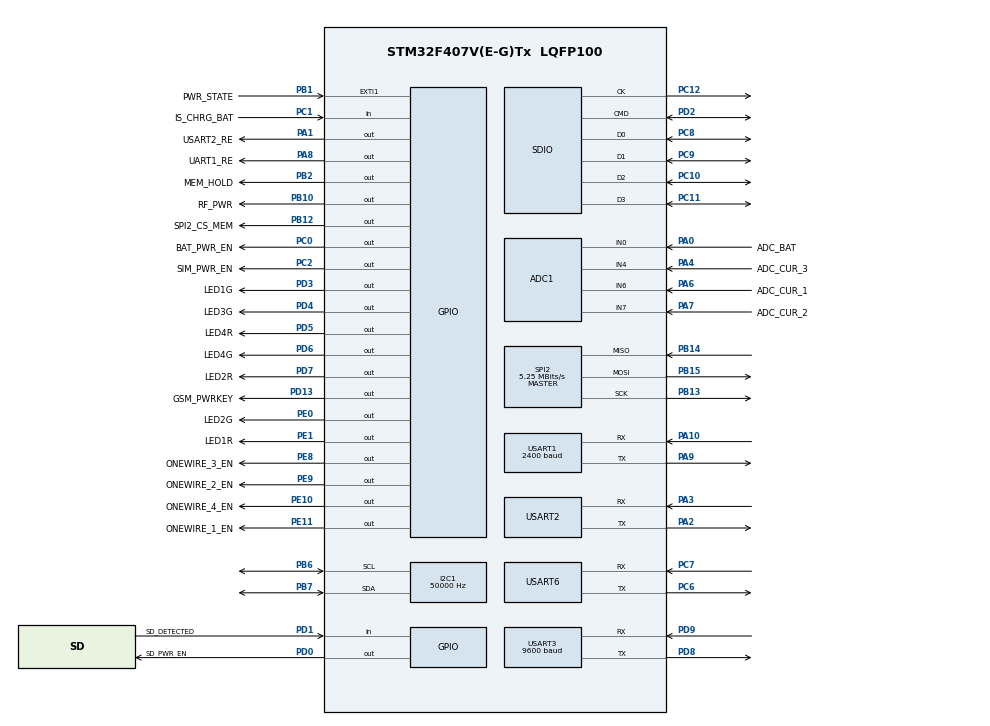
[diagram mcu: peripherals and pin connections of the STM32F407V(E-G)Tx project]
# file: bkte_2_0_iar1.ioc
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ADC1.Channel-0\#ChannelRegularConversion=ADC_CHANNEL_0
ADC1.Channel-1\#ChannelRegularConversion=ADC_CHANNEL_6
ADC1.Channel-2\#ChannelRegularConversion=ADC_CHANNEL_7
ADC1.Channel-3\#ChannelRegularConversion=ADC_CHANNEL_4
ADC1.ContinuousConvMode=DISABLE
ADC1.DMAContinuousRequests=ENABLE
ADC1.EOCSelection=ADC_EOC_SEQ_CONV
ADC1.ExternalTrigConv=ADC_EXTERNALTRIGCONV_T2_TRGO
ADC1.NbrOfConversion=4
ADC1.NbrOfConversionFlag=1
ADC1.Rank-0\#ChannelRegularConversion=1
ADC1.Rank-1\#ChannelRegularConversion=2
ADC1.Rank-2\#ChannelRegularConversion=3
ADC1.Rank-3\#ChannelRegularConversion=4
ADC1.SamplingTime-0\#ChannelRegularConversion=ADC_SAMPLETIME_28CYCLES
ADC1.SamplingTime-1\#ChannelRegularConversion=ADC_SAMPLETIME_28CYCLES
ADC1.SamplingTime-2\#ChannelRegularConversion=ADC_SAMPLETIME_28CYCLES
ADC1.SamplingTime-3\#ChannelRegularConversion=ADC_SAMPLETIME_28CYCLES
ADC1.ScanConvMode=ENABLE
ADC1.master=1
Dma.ADC1.8.Direction=DMA_PERIPH_TO_MEMORY
Dma.ADC1.8.FIFOMode=DMA_FIFOMODE_DISABLE
Dma.ADC1.8.Instance=DMA2_Stream0
Dma.ADC1.8.MemDataAlignment=DMA_MDATAALIGN_HALFWORD
Dma.ADC1.8.MemInc=DMA_MINC_ENABLE
Dma.ADC1.8.Mode=DMA_CIRCULAR
Dma.ADC1.8.PeriphDataAlignment=DMA_PDATAALIGN_HALFWORD
Dma.ADC1.8.PeriphInc=DMA_PINC_DISABLE
Dma.ADC1.8.Priority=DMA_PRIORITY_LOW
Dma.Request0=SDIO_RX
Dma.Request1=SDIO_TX
Dma.Request2=USART6_RX
Dma.Request3=USART6_TX
Dma.Request4=USART1_RX
Dma.Request5=SPI2_RX
Dma.Request6=SPI2_TX
Dma.Request7=USART2_RX
Dma.Request8=ADC1
Dma.SDIO_RX.0.Direction=DMA_PERIPH_TO_MEMORY
Dma.SDIO_RX.0.FIFOMode=DMA_FIFOMODE_ENABLE
Dma.SDIO_RX.0.FIFOThreshold=DMA_FIFO_THRESHOLD_FULL
Dma.SDIO_RX.0.Instance=DMA2_Stream3
Dma.SDIO_RX.0.MemBurst=DMA_MBURST_INC4
Dma.SDIO_RX.0.MemDataAlignment=DMA_MDATAALIGN_WORD
Dma.SDIO_RX.0.MemInc=DMA_MINC_ENABLE
Dma.SDIO_RX.0.Mode=DMA_PFCTRL
Dma.SDIO_RX.0.PeriphBurst=DMA_PBURST_INC4
Dma.SDIO_RX.0.PeriphDataAlignment=DMA_PDATAALIGN_WORD
Dma.SDIO_RX.0.PeriphInc=DMA_PINC_DISABLE
Dma.SDIO_RX.0.Priority=DMA_PRIORITY_LOW
Dma.SDIO_TX.1.Direction=DMA_MEMORY_TO_PERIPH
Dma.SDIO_TX.1.FIFOMode=DMA_FIFOMODE_ENABLE
Dma.SDIO_TX.1.FIFOThreshold=DMA_FIFO_THRESHOLD_FULL
Dma.SDIO_TX.1.Instance=DMA2_Stream6
Dma.SDIO_TX.1.MemBurst=DMA_MBURST_INC4
Dma.SDIO_TX.1.MemDataAlignment=DMA_MDATAALIGN_WORD
Dma.SDIO_TX.1.MemInc=DMA_MINC_ENABLE
Dma.SDIO_TX.1.Mode=DMA_PFCTRL
Dma.SDIO_TX.1.PeriphBurst=DMA_PBURST_INC4
Dma.SDIO_TX.1.PeriphDataAlignment=DMA_PDATAALIGN_WORD
Dma.SDIO_TX.1.PeriphInc=DMA_PINC_DISABLE
Dma.SDIO_TX.1.Priority=DMA_PRIORITY_LOW
Dma.SPI2_RX.5.Direction=DMA_PERIPH_TO_MEMORY
Dma.SPI2_RX.5.FIFOMode=DMA_FIFOMODE_DISABLE
Dma.SPI2_RX.5.Instance=DMA1_Stream3
Dma.SPI2_RX.5.MemDataAlignment=DMA_MDATAALIGN_BYTE
Dma.SPI2_RX.5.MemInc=DMA_MINC_ENABLE
Dma.SPI2_RX.5.Mode=DMA_NORMAL
Dma.SPI2_RX.5.PeriphDataAlignment=DMA_PDATAALIGN_BYTE
Dma.SPI2_RX.5.PeriphInc=DMA_PINC_DISABLE
Dma.SPI2_RX.5.Priority=DMA_PRIORITY_LOW
Dma.SPI2_TX.6.Direction=DMA_MEMORY_TO_PERIPH
Dma.SPI2_TX.6.FIFOMode=DMA_FIFOMODE_DISABLE
Dma.SPI2_TX.6.Instance=DMA1_Stream4
Dma.SPI2_TX.6.MemDataAlignment=DMA_MDATAALIGN_BYTE
Dma.SPI2_TX.6.MemInc=DMA_MINC_ENABLE
Dma.SPI2_TX.6.Mode=DMA_NORMAL
Dma.SPI2_TX.6.PeriphDataAlignment=DMA_PDATAALIGN_BYTE
Dma.SPI2_TX.6.PeriphInc=DMA_PINC_DISABLE
Dma.SPI2_TX.6.Priority=DMA_PRIORITY_LOW
Dma.USART1_RX.4.Direction=DMA_PERIPH_TO_MEMORY
Dma.USART1_RX.4.FIFOMode=DMA_FIFOMODE_DISABLE
Dma.USART1_RX.4.Instance=DMA2_Stream2
Dma.USART1_RX.4.MemDataAlignment=DMA_MDATAALIGN_HALFWORD
Dma.USART1_RX.4.MemInc=DMA_MINC_ENABLE
Dma.USART1_RX.4.Mode=DMA_NORMAL
Dma.USART1_RX.4.PeriphDataAlignment=DMA_PDATAALIGN_HALFWORD
Dma.USART1_RX.4.PeriphInc=DMA_PINC_DISABLE
Dma.USART1_RX.4.Priority=DMA_PRIORITY_VERY_HIGH
Dma.USART2_RX.7.Direction=DMA_PERIPH_TO_MEMORY
Dma.USART2_RX.7.FIFOMode=DMA_FIFOMODE_ENABLE
Dma.USART2_RX.7.FIFOThreshold=DMA_FIFO_THRESHOLD_FULL
Dma.USART2_RX.7.Instance=DMA1_Stream5
Dma.USART2_RX.7.MemBurst=DMA_MBURST_SINGLE
Dma.USART2_RX.7.MemDataAlignment=DMA_MDATAALIGN_BYTE
Dma.USART2_RX.7.MemInc=DMA_MINC_ENABLE
Dma.USART2_RX.7.Mode=DMA_NORMAL
Dma.USART2_RX.7.PeriphBurst=DMA_PBURST_SINGLE
Dma.USART2_RX.7.PeriphDataAlignment=DMA_PDATAALIGN_BYTE
Dma.USART2_RX.7.PeriphInc=DMA_PINC_DISABLE
Dma.USART2_RX.7.Priority=DMA_PRIORITY_LOW
Dma.USART6_RX.2.Direction=DMA_PERIPH_TO_MEMORY
Dma.USART6_RX.2.FIFOMode=DMA_FIFOMODE_DISABLE
Dma.USART6_RX.2.Instance=DMA2_Stream1
Dma.USART6_RX.2.MemDataAlignment=DMA_MDATAALIGN_BYTE
Dma.USART6_RX.2.MemInc=DMA_MINC_ENABLE
Dma.USART6_RX.2.Mode=DMA_CIRCULAR
Dma.USART6_RX.2.PeriphDataAlignment=DMA_PDATAALIGN_BYTE
Dma.USART6_RX.2.PeriphInc=DMA_PINC_DISABLE
Dma.USART6_RX.2.Priority=DMA_PRIORITY_LOW
Dma.USART6_TX.3.Direction=DMA_MEMORY_TO_PERIPH
Dma.USART6_TX.3.FIFOMode=DMA_FIFOMODE_DISABLE
Dma.USART6_TX.3.Instance=DMA2_Stream7
Dma.USART6_TX.3.MemDataAlignment=DMA_MDATAALIGN_BYTE
Dma.USART6_TX.3.MemInc=DMA_MINC_ENABLE
Dma.USART6_TX.3.Mode=DMA_NORMAL
Dma.USART6_TX.3.PeriphDataAlignment=DMA_PDATAALIGN_BYTE
Dma.USART6_TX.3.PeriphInc=DMA_PINC_DISABLE
Dma.USART6_TX.3.Priority=DMA_PRIORITY_LOW
FATFS.BSP.number=1
FATFS.USE_DMA_CODE_SD=1
FATFS._MAX_SS=4096
FATFS._MIN_SS=512
FATFS0.BSP.STBoard=false
FATFS0.BSP.api=Unknown
FATFS0.BSP.i2caddr=0
FATFS0.BSP.instance=PD1
FATFS0.BSP.ip=GPIO
FATFS0.BSP.mode=Input
FATFS0.BSP.name=Detect_SDIO
FATFS0.BSP.solution=PD1
FREERTOS.BinarySemaphores01=semCreateWebPckg,Dynamic,NULL;semSendWebPckg,Dynamic,NULL;semCurrMeasure,Dynamic,NULL
FREERTOS.MEMORY_ALLOCATION=2
FREERTOS.Mutexes01=mutexBigBuf,Dynamic,NULL;mutexWeb,Dynamic,NULL;mutexRTC,Dynamic,NULL;mutexSD,Dynamic,NULL;mutexSpiFlash,Dynamic,NULL;mutexSession,Dynamic,NULL;mutexCurrMeasure,Dynamic,NULL
FREERTOS.Queues01=queueWebPckg,8,WebPckg*,0,Dynamic,NULL,NULL
FREERTOS.Tasks01=getCurrent,0,300,taskCurMeasure,As weak,NULL,Dynamic,NULL,NULL;getNewBin,0,300,taskGetNewBin,As weak,NULL,Dynamic,NULL,NULL;keepAlive,0,300,taskKeepAlive,As weak,NULL,Dynamic,NULL,NULL;webExchange,0,300,taskWebExchange,As weak,NULL,Dynamic,NULL,NULL;manageIWDG,0,128,taskManageIWDG,As weak,NULL,Dynamic,NULL,NULL;createWebPckg,0,300,taskCreateWebPckg,As weak,NULL,Dynamic,NULL,NULL
FREERTOS.Timers01=timerPowerOff,timerPowerOff_callback,osTimerOnce,As weak,NULL,Dynamic,NULL
FREERTOS.configTIMER_QUEUE_LENGTH=1
FREERTOS.configTIMER_TASK_STACK_DEPTH=128
FREERTOS.configTOTAL_HEAP_SIZE=15000
FREERTOS.configUSE_TIMERS=1
I2C1.ClockSpeed=50000
IWDG.Prescaler=IWDG_PRESCALER_256
Mcu.Family=STM32F4
Mcu.Name=STM32F407V(E-G)Tx
Mcu.Package=LQFP100
NVIC.DMA1_Stream3_IRQn=true\:5\:0\:true\:false\:true\:false\:false\:true
NVIC.DMA1_Stream4_IRQn=true\:5\:0\:true\:false\:true\:false\:false\:true
NVIC.DMA1_Stream5_IRQn=true\:5\:0\:false\:false\:true\:true\:false\:true
NVIC.DMA2_Stream0_IRQn=true\:5\:0\:false\:false\:true\:true\:false\:true
NVIC.DMA2_Stream1_IRQn=true\:5\:0\:true\:false\:true\:false\:false\:true
NVIC.DMA2_Stream2_IRQn=true\:5\:0\:true\:false\:true\:false\:false\:true
NVIC.DMA2_Stream3_IRQn=true\:5\:0\:true\:false\:true\:false\:false\:true
NVIC.DMA2_Stream6_IRQn=true\:5\:0\:true\:false\:true\:false\:false\:true
NVIC.DMA2_Stream7_IRQn=true\:5\:0\:true\:false\:true\:false\:false\:true
NVIC.EXTI1_IRQn=true\:5\:0\:true\:false\:true\:false\:true\:true
NVIC.I2C1_ER_IRQn=true\:5\:0\:true\:false\:true\:false\:true\:true
NVIC.I2C1_EV_IRQn=true\:5\:0\:true\:false\:true\:false\:true\:true
NVIC.PriorityGroup=NVIC_PRIORITYGROUP_4
NVIC.SDIO_IRQn=true\:5\:0\:true\:false\:true\:false\:true\:true
NVIC.SPI2_IRQn=true\:5\:0\:true\:false\:true\:false\:true\:true
NVIC.TIM1_UP_TIM10_IRQn=true\:0\:0\:false\:false\:true\:false\:false\:true
NVIC.TimeBase=TIM1_UP_TIM10_IRQn
NVIC.TimeBaseIP=TIM1
NVIC.USART1_IRQn=true\:5\:0\:true\:false\:true\:false\:true\:true
NVIC.USART2_IRQn=true\:5\:0\:false\:false\:true\:true\:true\:true
NVIC.USART3_IRQn=true\:5\:0\:true\:false\:true\:false\:true\:true
NVIC.USART6_IRQn=true\:5\:0\:true\:false\:true\:false\:true\:true
PA0-WKUP.GPIO_Label=ADC_BAT
PA0-WKUP.Signal=ADCx_IN0
PA1.GPIO_Label=USART2_RE
PA1.Signal=GPIO_Output
PA10.Mode=Asynchronous
PA10.Signal=USART1_RX
PA13.Mode=Serial_Wire
PA13.Signal=SYS_JTMS-SWDIO
PA14.Mode=Serial_Wire
PA14.Signal=SYS_JTCK-SWCLK
PA2.Mode=Asynchronous
PA2.Signal=USART2_TX
PA3.Mode=Asynchronous
PA3.Signal=USART2_RX
PA4.GPIO_Label=ADC_CUR_3
PA4.Signal=ADCx_IN4
PA6.GPIO_Label=ADC_CUR_1
PA6.Signal=ADCx_IN6
PA7.GPIO_Label=ADC_CUR_2
PA7.Signal=ADCx_IN7
PA8.GPIO_Label=UART1_RE
PA8.Signal=GPIO_Output
PA9.Mode=Asynchronous
PA9.Signal=USART1_TX
PB1.GPIO_Label=PWR_STATE
PB1.Signal=GPXTI1
PB10.GPIO_Label=RF_PWR
PB10.Signal=GPIO_Output
PB12.GPIO_Label=SPI2_CS_MEM
PB12.Signal=GPIO_Output
PB13.Mode=Full_Duplex_Master
PB13.Signal=SPI2_SCK
PB14.Mode=Full_Duplex_Master
PB14.Signal=SPI2_MISO
PB15.Mode=Full_Duplex_Master
PB15.Signal=SPI2_MOSI
PB2.GPIO_Label=MEM_HOLD
PB2.Signal=GPIO_Output
PB6.Mode=I2C
PB6.Signal=I2C1_SCL
PB7.Mode=I2C
PB7.Signal=I2C1_SDA
PC0.GPIO_Label=BAT_PWR_EN
PC0.Signal=GPIO_Output
PC1.GPIO_Label=IS_CHRG_BAT
PC1.Signal=GPIO_Input
PC10.Mode=SD_4_bits_Wide_bus
PC10.Signal=SDIO_D2
PC11.Mode=SD_4_bits_Wide_bus
PC11.Signal=SDIO_D3
PC12.Mode=SD_4_bits_Wide_bus
PC12.Signal=SDIO_CK
PC14-OSC32_IN.Mode=LSE-External-Oscillator
PC14-OSC32_IN.Signal=RCC_OSC32_IN
PC15-OSC32_OUT.Mode=LSE-External-Oscillator
PC15-OSC32_OUT.Signal=RCC_OSC32_OUT
PC2.GPIO_Label=SIM_PWR_EN
PC2.Signal=GPIO_Output
PC6.Mode=Asynchronous
PC6.Signal=USART6_TX
PC7.Mode=Asynchronous
PC7.Signal=USART6_RX
PC8.Mode=SD_4_bits_Wide_bus
PC8.Signal=SDIO_D0
PC9.Mode=SD_4_bits_Wide_bus
PC9.Signal=SDIO_D1
PD0.GPIO_Label=SD_PWR_EN
PD0.Signal=GPIO_Output
PD1.GPIO_Label=SD_DETECTED
PD1.Signal=GPIO_Input
PD13.GPIO_Label=GSM_PWRKEY
PD13.Signal=GPIO_Output
PD2.Mode=SD_4_bits_Wide_bus
PD2.Signal=SDIO_CMD
PD3.GPIO_Label=LED1G
PD3.Signal=GPIO_Output
PD4.GPIO_Label=LED3G
PD4.Signal=GPIO_Output
PD5.GPIO_Label=LED4R
PD5.Signal=GPIO_Output
PD6.GPIO_Label=LED4G
PD6.Signal=GPIO_Output
PD7.GPIO_Label=LED2R
PD7.Signal=GPIO_Output
PD8.Mode=Asynchronous
PD8.Signal=USART3_TX
PD9.Mode=Asynchronous
PD9.Signal=USART3_RX
PE0.GPIO_Label=LED2G
PE0.Signal=GPIO_Output
PE1.GPIO_Label=LED1R
PE1.Signal=GPIO_Output
PE10.GPIO_Label=ONEWIRE_4_EN
PE10.Signal=GPIO_Output
PE11.GPIO_Label=ONEWIRE_1_EN
PE11.Signal=GPIO_Output
PE8.GPIO_Label=ONEWIRE_3_EN
PE8.Signal=GPIO_Output
PE9.GPIO_Label=ONEWIRE_2_EN
PE9.Signal=GPIO_Output
PH0-OSC_IN.Mode=HSE-External-Oscillator
PH0-OSC_IN.Signal=RCC_OSC_IN
PH1-OSC_OUT.Mode=HSE-External-Oscillator
PH1-OSC_OUT.Signal=RCC_OSC_OUT
ProjectManager.HeapSize=0x200
ProjectManager.StackSize=0x400
ProjectManager.TargetToolchain=EWARM V8.32
RCC.48MHZClocksFreq_Value=22400000
RCC.AHBFreq_Value=168000000
RCC.APB1CLKDivider=RCC_HCLK_DIV4
RCC.APB1Freq_Value=42000000
RCC.APB1TimFreq_Value=84000000
RCC.APB2CLKDivider=RCC_HCLK_DIV2
RCC.APB2Freq_Value=84000000
RCC.APB2TimFreq_Value=168000000
RCC.CortexFreq_Value=168000000
RCC.HCLKFreq_Value=168000000
RCC.HSE_VALUE=16000000
RCC.HSI_VALUE=16000000
RCC.PLLN=336
RCC.PLLQ=15
RCC.PLLSourceVirtual=RCC_PLLSOURCE_HSE
RCC.RCC_RTC_Clock_Source=RCC_RTCCLKSOURCE_LSE
RCC.RCC_RTC_Clock_SourceVirtual=RCC_RTCCLKSOURCE_LSE
RCC.SYSCLKFreq_VALUE=168000000
RCC.SYSCLKSource=RCC_SYSCLKSOURCE_PLLCLK
RCC.VCOOutputFreq_Value=336000000
RTC.Date=28
RTC.Format=RTC_FORMAT_BIN
RTC.Hours=23
RTC.Minutes=59
RTC.Month=RTC_MONTH_MARCH
RTC.WeekDay=RTC_WEEKDAY_SATURDAY
RTC.Year=21
SDIO.ClockDiv=25
SH.ADCx_IN0.0=ADC1_IN0,IN0
SH.ADCx_IN4.0=ADC1_IN4,IN4
SH.ADCx_IN6.0=ADC1_IN6,IN6
SH.ADCx_IN7.0=ADC1_IN7,IN7
SPI2.BaudRatePrescaler=SPI_BAUDRATEPRESCALER_8
SPI2.CalculateBaudRate=5.25 MBits/s
SPI2.Direction=SPI_DIRECTION_2LINES
SPI2.Mode=SPI_MODE_MASTER
SPI2.VirtualType=VM_MASTER
TIM2.Period=1000
TIM2.Prescaler=83
TIM2.TIM_MasterOutputTrigger=TIM_TRGO_UPDATE
USART1.BaudRate=2400
USART1.VirtualMode=VM_ASYNC
USART1.WordLength=WORDLENGTH_9B
USART2.VirtualMode=VM_ASYNC
USART3.BaudRate=9600
USART3.VirtualMode=VM_ASYNC
USART6.VirtualMode=VM_ASYNC
VP_CRC_VS_CRC.Mode=CRC_Activate
VP_FATFS_VS_SDIO.Mode=SDIO
VP_FREERTOS_VS_CMSIS_V1.Mode=CMSIS_V1
VP_IWDG_VS_IWDG.Mode=IWDG_Activate
VP_RTC_VS_RTC_Activate.Mode=RTC_Enabled
VP_RTC_VS_RTC_Calendar.Mode=RTC_Calendar
VP_SYS_VS_tim1.Mode=TIM1
VP_TIM2_VS_ClockSourceINT.Mode=Internal
board=custom

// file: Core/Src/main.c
/* USER CODE BEGIN Header */
/**
 ******************************************************************************
 * @file           : main.c
 * @brief          : Main program body
 ******************************************************************************
 * @attention
 *
 * <h2><center>&copy; Copyright (c) 2020 STMicroelectronics.
 * All rights reserved.</center></h2>
 *
 * This software component is licensed by ST under Ultimate Liberty license
 * SLA0044, the "License"; You may not use this file except in compliance with
 * the License. You may obtain a copy of the License at:
 *                             www.st.com/SLA0044
 *
 ******************************************************************************
 */
/* USER CODE END Header */
#include "main.h"
#include "cmsis_os.h"
#include "adc.h"
#include "crc.h"
#include "dma.h"
#include "fatfs.h"
#include "i2c.h"
#include "iwdg.h"
#include "rtc.h"
#include "sdio.h"
#include "spi.h"
#include "tim.h"
#include "usart.h"
#include "gpio.h"

/* USER CODE BEGIN PV */
#include "circularBuffer.h"
#include "fatfs.h"
#include "simcom.h"
#include "utils_bkte.h"
#include "utils_flash.h"

CircularBuffer circBufAllPckgs = {.buf = NULL, .max = 0};

u8 bufPckgs[SZ_PAGE];

BKTE bkte;
Urls urls;
/* USER CODE END PV */

void SystemClock_Config(void);
void MX_FREERTOS_Init(void);

int main(void)
{

  /* MCU Configuration--------------------------------------------------------*/

  /* Reset of all peripherals, Initializes the Flash interface and the Systick. */
  HAL_Init();

  /* Configure the system clock */
  SystemClock_Config();

  /* Initialize all configured peripherals */
  MX_GPIO_Init();
  MX_DMA_Init();
  MX_ADC1_Init();
  MX_SDIO_SD_Init();
  MX_SPI2_Init();
  MX_FATFS_Init();
  MX_CRC_Init();
  MX_I2C1_Init();
  MX_USART3_UART_Init();
  MX_USART6_UART_Init();
  MX_RTC_Init();
  MX_IWDG_Init();
  MX_USART1_UART_Init();
  MX_USART2_UART_Init();
  MX_TIM2_Init();
  /* USER CODE BEGIN 2 */
    volatile fw_info_t info = {.header = 0x1122334455667788,
                               .idFirmware = BKTE_ID_FIRMWARE,
                               .idBoot = (u8)getFlashData(FLASH_ADDR_ID_BOOT)};

    memcpy(&bkte.info.fw, (void*)&info, sizeof(fw_info_t));

    LOG(LEVEL_MAIN, "Firmware: %d.%d\r\n\r\n", info.idFirmware, info.idBoot);

    cBufInit(&circBufAllPckgs, bufPckgs, SZ_PAGE, CIRC_TYPE_PCKG_ALL);
    HAL_GPIO_WritePin(GPIOB, MEM_HOLD_Pin, GPIO_PIN_SET);
    bkteInit();
    urlsInit();
    uartInitInfo();

    //  simOn();
  /* USER CODE END 2 */

  /* Call init function for freertos objects (in freertos.c) */
  MX_FREERTOS_Init();
  /* Start scheduler */
  osKernelStart();

  /* We should never get here as control is now taken by the scheduler */
  /* Infinite loop */
    while (1) {

    }
}

void SystemClock_Config(void)
{
  LL_FLASH_SetLatency(LL_FLASH_LATENCY_5);
  while(LL_FLASH_GetLatency()!= LL_FLASH_LATENCY_5)
  {
  }
  LL_PWR_SetRegulVoltageScaling(LL_PWR_REGU_VOLTAGE_SCALE1);
  LL_RCC_HSE_Enable();

   /* Wait till HSE is ready */
  while(LL_RCC_HSE_IsReady() != 1)
  {

  }
  LL_RCC_LSI_Enable();

   /* Wait till LSI is ready */
  while(LL_RCC_LSI_IsReady() != 1)
  {

  }
  LL_PWR_EnableBkUpAccess();
  LL_RCC_LSE_Enable();

   /* Wait till LSE is ready */
  while(LL_RCC_LSE_IsReady() != 1)
  {

  }
  if(LL_RCC_GetRTCClockSource() != LL_RCC_RTC_CLKSOURCE_LSE)
  {
    LL_RCC_ForceBackupDomainReset();
    LL_RCC_ReleaseBackupDomainReset();
    LL_RCC_SetRTCClockSource(LL_RCC_RTC_CLKSOURCE_LSE);
  }
  LL_RCC_EnableRTC();
  LL_RCC_PLL_ConfigDomain_SYS(LL_RCC_PLLSOURCE_HSE, LL_RCC_PLLM_DIV_16, 336, LL_RCC_PLLP_DIV_2);
  LL_RCC_PLL_Enable();

   /* Wait till PLL is ready */
  while(LL_RCC_PLL_IsReady() != 1)
  {

  }
  LL_RCC_SetAHBPrescaler(LL_RCC_SYSCLK_DIV_1);
  LL_RCC_SetAPB1Prescaler(LL_RCC_APB1_DIV_4);
  LL_RCC_SetAPB2Prescaler(LL_RCC_APB2_DIV_2);
  LL_RCC_SetSysClkSource(LL_RCC_SYS_CLKSOURCE_PLL);

   /* Wait till System clock is ready */
  while(LL_RCC_GetSysClkSource() != LL_RCC_SYS_CLKSOURCE_STATUS_PLL)
  {

  }
  LL_SetSystemCoreClock(168000000);

   /* Update the time base */
  if (HAL_InitTick (TICK_INT_PRIORITY) != HAL_OK)
  {
    Error_Handler();
  }
}

/* USER CODE BEGIN 4 */
u8 waitTx(char* waitStr, IrqFlags* pFlags, u16 pause, u32 timeout) {
    u32 tout = 0;
    while (!pFlags->isIrqTx && tout < timeout) {
        osDelay(pause);
        tout += pause;
    }
    if (strlen(waitStr) > 1) LOG(LEVEL_INFO, "%s timeout: %d\r\n", waitStr, tout);
    return pFlags->isIrqTx;
}

u8 waitRx(char* waitStr, IrqFlags* pFlags, u16 pause, u32 timeout) {
    u32 tout = 0;
    while (!(pFlags->isIrqRx) && tout < timeout) {
        osDelay(pause);
        tout += pause;
    }
    if (strlen(waitStr) > 1) LOG(LEVEL_INFO, "%s timeout: %d\r\n", waitStr, tout);
    return pFlags->isIrqRx;
}

u8 waitIdle(char* waitStr, IrqFlags* pFlags, u16 pause, u32 timeout) {
    u32 tout = 0;
    while (!(pFlags->isIrqIdle) && tout < timeout) {
        osDelay(pause);
        tout += pause;
    }
    if (strlen(waitStr) > 1) LOG(LEVEL_INFO, "%s timeout: %d\r\n", waitStr, tout);
    return pFlags->isIrqIdle;
}

u8 waitIdleCnt(char* waitStr, IrqFlags* pFlags, u8 cnt, u16 pause, u32 timeout) {
    u32 tout = 0;
    while ((pFlags->isIrqIdle) < cnt && tout < timeout) {
        osDelay(pause);
        tout += pause;
    }
    if (strlen(waitStr) > 1) LOG(LEVEL_INFO, "%s timeout: %d\r\n", waitStr, tout);
    return pFlags->isIrqIdle;
}

void urlsInit() {
    urls.ourTcpAddr = URL_TCP_ADDR;
    urls.ourTcpPort = URL_TCP_PORT;
    urls.niacTcpAddr = URL_NIAC_TCP_ADDR;
    urls.niacTcpPort = URL_NIAC_TCP_PORT;
}

/* USER CODE END 4 */

 /**
  * @brief  Period elapsed callback in non blocking mode
  * @note   This function is called  when TIM1 interrupt took place, inside
  * HAL_TIM_IRQHandler(). It makes a direct call to HAL_IncTick() to increment
  * a global variable "uwTick" used as application time base.
  * @param  htim : TIM handle
  * @retval None
  */
void HAL_TIM_PeriodElapsedCallback(TIM_HandleTypeDef *htim)
{
  if (htim->Instance == TIM1) {
    HAL_IncTick();
  }
}

void Error_Handler(void)
{
}

/************************ (C) COPYRIGHT STMicroelectronics *****END OF FILE****/

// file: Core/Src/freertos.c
/* USER CODE BEGIN Header */
/**
 ******************************************************************************
 * File Name          : freertos.c
 * Description        : Code for freertos applications
 ******************************************************************************
 * @attention
 *
 * <h2><center>&copy; Copyright (c) 2020 STMicroelectronics.
 * All rights reserved.</center></h2>
 *
 * This software component is licensed by ST under Ultimate Liberty license
 * SLA0044, the "License"; You may not use this file except in compliance with
 * the License. You may obtain a copy of the License at:
 *                             www.st.com/SLA0044
 *
 ******************************************************************************
 */
/* USER CODE END Header */

#include "FreeRTOS.h"

#include "cmsis_os.h"
#include "main.h"
#include "task.h"

/* USER CODE BEGIN Variables */
#include "usart.h"
#include "utils_pckgs_manager.h"

/* USER CODE END Variables */
osThreadId    getCurrentHandle;
osThreadId    getNewBinHandle;
osThreadId    keepAliveHandle;
osThreadId    webExchangeHandle;
osThreadId    manageIWDGHandle;
osThreadId    createWebPckgHandle;
osMessageQId  queueWebPckgHandle;
osTimerId     timerPowerOffHandle;
osMutexId     mutexBigBufHandle;
osMutexId     mutexWebHandle;
osMutexId     mutexRTCHandle;
osMutexId     mutexSDHandle;
osMutexId     mutexSpiFlashHandle;
osMutexId     mutexSessionHandle;
osMutexId     mutexCurrMeasureHandle;
osSemaphoreId semCreateWebPckgHandle;
osSemaphoreId semSendWebPckgHandle;
osSemaphoreId semCurrMeasureHandle;

void taskCurMeasure(void const *argument);
void taskGetNewBin(void const *argument);
void taskKeepAlive(void const *argument);
void taskWebExchange(void const *argument);
void taskManageIWDG(void const *argument);
void taskCreateWebPckg(void const *argument);
void timerPowerOff_callback(void const *argument);

void MX_FREERTOS_Init(void); /* (MISRA C 2004 rule 8.1) */

/* GetIdleTaskMemory prototype (linked to static allocation support) */
void vApplicationGetIdleTaskMemory(StaticTask_t **ppxIdleTaskTCBBuffer, StackType_t **ppxIdleTaskStackBuffer, uint32_t *pulIdleTaskStackSize);

/* GetTimerTaskMemory prototype (linked to static allocation support) */
void vApplicationGetTimerTaskMemory(StaticTask_t **ppxTimerTaskTCBBuffer, StackType_t **ppxTimerTaskStackBuffer, uint32_t *pulTimerTaskStackSize);

/* USER CODE BEGIN GET_IDLE_TASK_MEMORY */
static StaticTask_t xIdleTaskTCBBuffer;
static StackType_t  xIdleStack[configMINIMAL_STACK_SIZE];

void vApplicationGetIdleTaskMemory(StaticTask_t **ppxIdleTaskTCBBuffer, StackType_t **ppxIdleTaskStackBuffer, uint32_t *pulIdleTaskStackSize) {
    *ppxIdleTaskTCBBuffer = &xIdleTaskTCBBuffer;
    *ppxIdleTaskStackBuffer = &xIdleStack[0];
    *pulIdleTaskStackSize = configMINIMAL_STACK_SIZE;
    /* place for user code */
}
/* USER CODE END GET_IDLE_TASK_MEMORY */

/* USER CODE BEGIN GET_TIMER_TASK_MEMORY */
static StaticTask_t xTimerTaskTCBBuffer;
static StackType_t  xTimerStack[configTIMER_TASK_STACK_DEPTH];

void vApplicationGetTimerTaskMemory(StaticTask_t **ppxTimerTaskTCBBuffer, StackType_t **ppxTimerTaskStackBuffer, uint32_t *pulTimerTaskStackSize) {
    *ppxTimerTaskTCBBuffer = &xTimerTaskTCBBuffer;
    *ppxTimerTaskStackBuffer = &xTimerStack[0];
    *pulTimerTaskStackSize = configTIMER_TASK_STACK_DEPTH;
    /* place for user code */
}
/* USER CODE END GET_TIMER_TASK_MEMORY */

void MX_FREERTOS_Init(void) {
    /* Create the mutex(es) */
    /* definition and creation of mutexBigBuf */
    osMutexDef(mutexBigBuf);
    mutexBigBufHandle = osMutexCreate(osMutex(mutexBigBuf));

    /* definition and creation of mutexWeb */
    osMutexDef(mutexWeb);
    mutexWebHandle = osMutexCreate(osMutex(mutexWeb));

    /* definition and creation of mutexRTC */
    osMutexDef(mutexRTC);
    mutexRTCHandle = osMutexCreate(osMutex(mutexRTC));

    /* definition and creation of mutexSD */
    osMutexDef(mutexSD);
    mutexSDHandle = osMutexCreate(osMutex(mutexSD));

    /* definition and creation of mutexSpiFlash */
    osMutexDef(mutexSpiFlash);
    mutexSpiFlashHandle = osMutexCreate(osMutex(mutexSpiFlash));

    /* definition and creation of mutexSession */
    osMutexDef(mutexSession);
    mutexSessionHandle = osMutexCreate(osMutex(mutexSession));

    /* definition and creation of mutexCurrMeasure */
    osMutexDef(mutexCurrMeasure);
    mutexCurrMeasureHandle = osMutexCreate(osMutex(mutexCurrMeasure));

    /* Create the semaphores(s) */
    /* definition and creation of semCreateWebPckg */
    osSemaphoreDef(semCreateWebPckg);
    semCreateWebPckgHandle = osSemaphoreCreate(osSemaphore(semCreateWebPckg), 1);

    /* definition and creation of semSendWebPckg */
    osSemaphoreDef(semSendWebPckg);
    semSendWebPckgHandle = osSemaphoreCreate(osSemaphore(semSendWebPckg), 1);

    /* definition and creation of semCurrMeasure */
    osSemaphoreDef(semCurrMeasure);
    semCurrMeasureHandle = osSemaphoreCreate(osSemaphore(semCurrMeasure), 1);

    /* Create the timer(s) */
    /* definition and creation of timerPowerOff */
    osTimerDef(timerPowerOff, timerPowerOff_callback);
    timerPowerOffHandle = osTimerCreate(osTimer(timerPowerOff), osTimerOnce, NULL);

    /* Create the queue(s) */
    /* definition and creation of queueWebPckg */
    osMessageQDef(queueWebPckg, 8, WebPckg *);
    queueWebPckgHandle = osMessageCreate(osMessageQ(queueWebPckg), NULL);

    /* Create the thread(s) */
    /* definition and creation of getCurrent */
    osThreadDef(getCurrent, taskCurMeasure, osPriorityNormal, 0, 300);
    getCurrentHandle = osThreadCreate(osThread(getCurrent), NULL);

    /* definition and creation of getNewBin */
    osThreadDef(getNewBin, taskGetNewBin, osPriorityNormal, 0, 300);
    getNewBinHandle = osThreadCreate(osThread(getNewBin), NULL);

    /* definition and creation of keepAlive */
    osThreadDef(keepAlive, taskKeepAlive, osPriorityNormal, 0, 300);
    keepAliveHandle = osThreadCreate(osThread(keepAlive), NULL);

    /* definition and creation of webExchange */
    osThreadDef(webExchange, taskWebExchange, osPriorityNormal, 0, 300);
    webExchangeHandle = osThreadCreate(osThread(webExchange), NULL);

    /* definition and creation of manageIWDG */
    osThreadDef(manageIWDG, taskManageIWDG, osPriorityNormal, 0, 128);
    manageIWDGHandle = osThreadCreate(osThread(manageIWDG), NULL);

    /* definition and creation of createWebPckg */
    osThreadDef(createWebPckg, taskCreateWebPckg, osPriorityNormal, 0, 300);
    createWebPckgHandle = osThreadCreate(osThread(createWebPckg), NULL);

}

__weak void taskCurMeasure(void const *argument) {
    for (;;) {
        osDelay(1);
    }
}

__weak void taskGetNewBin(void const *argument) {
    /* USER CODE BEGIN taskGetNewBin */
    /* Infinite loop */
    for (;;) {
        osDelay(1000);
    }
    /* USER CODE END taskGetNewBin */
}

__weak void taskKeepAlive(void const *argument) {
    for (;;) {
        osDelay(1);
    }
}

__weak void taskWebExchange(void const *argument) {
    /* USER CODE BEGIN taskWebExchange */
    /* Infinite loop */
    for (;;) {
        osDelay(3000);
    }
    /* USER CODE END taskWebExchange */
}

__weak void taskManageIWDG(void const *argument) {
    for (;;) {
        osDelay(1);
    }
}

__weak void taskCreateWebPckg(void const *argument) {
    for (;;) {
        osDelay(1);
    }
}

/* timerPowerOff_callback function */
__weak void timerPowerOff_callback(void const *argument) {
}

/************************ (C) COPYRIGHT STMicroelectronics *****END OF FILE****/
